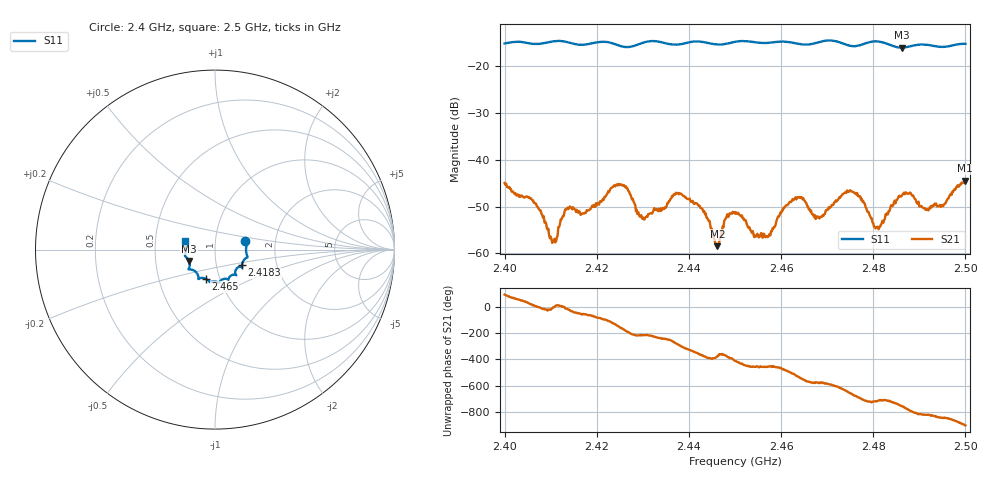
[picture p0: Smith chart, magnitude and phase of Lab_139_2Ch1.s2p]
# Hz S RI R 50
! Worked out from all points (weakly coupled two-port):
!   601 points, 2.4 GHz to 2.5 GHz, reference 50 ohm
!   highest |S21| = -44.49 dB at 2.4998 GHz (marker M1); lowest = -58.5 dB at 2.4462 GHz (marker M2)
!   lowest |S11| = -16.0 dB at 2.4862 GHz (marker M3), VSWR 1.37, Z = 37.1 - j4.81 ohm
!   |S11| at or under -10 dB: start of sweep to end of sweep
!   S12 and S22 are empty: the file has one direction only
!   S11 on the Smith chart (normalised r, x): 2.4 GHz: 1.40, +0.13; 2.4183 GHz: 1.33, -0.24; 2.465 GHz: 0.86, -0.29; 2.5 GHz: 0.71, +0.07
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2.4e9  0.1691 0.0455  -0.000463 0.00564  0 0  0 0
2.406333e9  0.1731 0.00484  0.0034 0.000786  0 0  0 0
2.410667e9  0.1807 -0.0379  0.00134 -5.33e-05  0 0  0 0
2.4135e9  0.1761 -0.0455  0.00292 -0.000693  0 0  0 0
2.416667e9  0.155 -0.0684  0.00146 -0.00217  0 0  0 0
2.418333e9  0.15 -0.0869  0.00137 -0.00255  0 0  0 0
2.424833e9  0.1354 -0.0963  -0.00468 -0.00259  0 0  0 0
2.429833e9  0.1134 -0.1354  -0.00189 0.00141  0 0  0 0
2.433333e9  0.1169 -0.1413  -0.0016 0.00233  0 0  0 0
2.4385e9  0.0796 -0.1536  0.00225 0.0036  0 0  0 0
2.446167e9  0.0515 -0.1629  0.00115 -0.000331  0 0  0 0
2.45e9  0.0252 -0.1805  0.00164 -0.00208  0 0  0 0
2.457e9  -0.00987 -0.1774  -0.000182 -0.00149  0 0  0 0
2.465e9  -0.0529 -0.1622  -0.00357 0.00105  0 0  0 0
2.466667e9  -0.0715 -0.1576  -0.00218 0.00151  0 0  0 0
2.474833e9  -0.1002 -0.1325  0.00185 0.00423  0 0  0 0
2.480667e9  -0.148 -0.1099  0.00191 1.21e-05  0 0  0 0
2.483333e9  -0.1422 -0.0959  0.00282 0.000123  0 0  0 0
2.486167e9  -0.1446 -0.0632  0.00332 -0.00242  0 0  0 0
2.491833e9  -0.1667 -0.0288  -0.000625 -0.0029  0 0  0 0
2.499833e9  -0.1673 0.0465  -0.00597 1.99e-05  0 0  0 0
2.5e9  -0.1669 0.0475  -0.00589 0.000334  0 0  0 0
